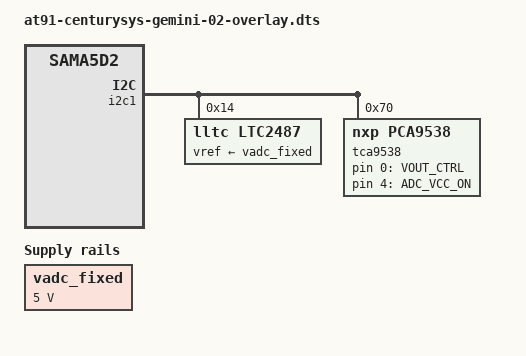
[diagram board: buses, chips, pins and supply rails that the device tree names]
// SPDX-License-Identifier: (GPL-2.0+ OR MIT)
/*
 * at91-centurysys-gemini-02-overlay.dts - Device Tree Overlay file (xio_id: 0x02)
 *                                           for Century Systems Gemini board
 *
 *  Copyright (C) 2020 Century Systems
 *                     Takeyoshi Kikuchi <kikuchi@centurysys.co.jp>
 */

/dts-v1/;
/plugin/;
#include "sama5d2-pinfunc.h"
#include <dt-bindings/mfd/atmel-flexcom.h>
#include <dt-bindings/gpio/gpio.h>
#include <dt-bindings/regulator/active-semi,8945a-regulator.h>

/ {
	compatible = "atmel,sama5d2-gemini", "atmel,sama5d2", "atmel,sama5";

	fragment@0 {
		target-path = "/";
		__overlay__ {
			vadc_fixed: fixedregulator_adc {
				compatible = "regulator-fixed";
				regulator-name = "VADC_5V";
				regulator-min-microvolt = <5000000>;
				regulator-max-microvolt = <5000000>;
			};
		};
	};

	fragment@1 {
		target = <&i2c1>;
		__overlay__ {
			#address-cells = <1>;
			#size-cells = <0>;

			/* AD Converter Option (xio_id: 2) */
			ltc2487: ltc2487@14 {
				compatible = "lltc,ltc2487";
				reg = <0x14>;
				vref-supply = <&vadc_fixed>;
			};

			tca9538: tca9538@70 {
				compatible = "nxp,pca9538";
				reg = <0x70>;
				#address-cells = <1>;
				#size-cells = <0>;
				#gpio-cells = <2>;

				gpio-line-names = "eFUSE_SHDN_N",
						  "eFUSE_FLT_N",
						  "Reserved2",
						  "Reserved3",
						  "DISO_PDIS_N",
						  "Reserved5",
						  "Reserved6",
						  "Reserved7";
			};
		};
	};

	fragment@2 {
		target = <&leds>;
		__overlay__ {
			tca953x_efuse_shdn_n {
				label = "VOUT_CTRL";
				gpios = <&tca9538 0 GPIO_ACTIVE_HIGH>;
			};

			tca953x_adc_vcc_on {
				label = "ADC_VCC_ON";
				gpios = <&tca9538 4 GPIO_ACTIVE_HIGH>;
				default-state = "on";
			};
		};
	};
};
